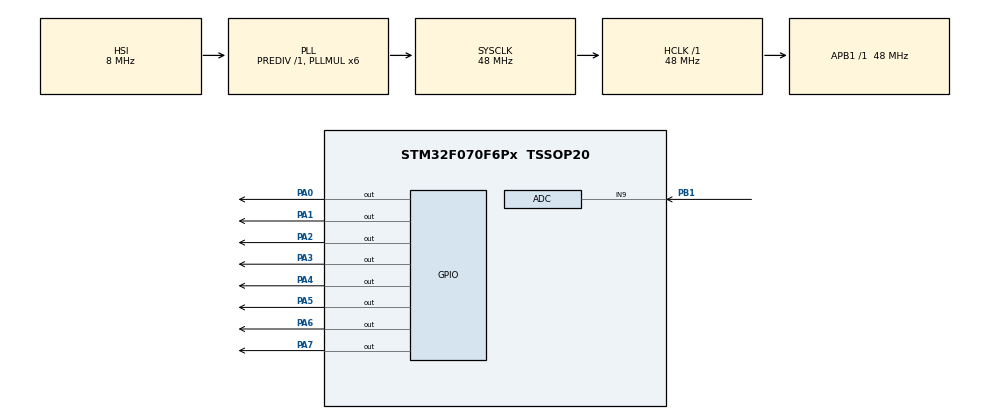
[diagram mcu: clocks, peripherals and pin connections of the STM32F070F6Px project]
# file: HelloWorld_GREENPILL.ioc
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ADC.Resolution=ADC_RESOLUTION_8B
Mcu.Family=STM32F0
Mcu.Name=STM32F070F6Px
Mcu.Package=TSSOP20
PA0.Signal=GPIO_Output
PA1.Signal=GPIO_Output
PA13.Mode=Serial_Wire
PA13.Signal=SYS_SWDIO
PA14.Mode=Serial_Wire
PA14.Signal=SYS_SWCLK
PA2.Signal=GPIO_Output
PA3.Signal=GPIO_Output
PA4.Signal=GPIO_Output
PA5.Signal=GPIO_Output
PA6.Signal=GPIO_Output
PA7.Signal=GPIO_Output
PB1.Mode=IN9
PB1.Signal=ADC_IN9
ProjectManager.HeapSize=0x200
ProjectManager.StackSize=0x400
ProjectManager.TargetToolchain=STM32CubeIDE
RCC.AHBFreq_Value=48000000
RCC.APB1Freq_Value=48000000
RCC.APB1TimFreq_Value=48000000
RCC.HCLKFreq_Value=48000000
RCC.PLLMUL=RCC_PLL_MUL6
RCC.SYSCLKFreq_VALUE=48000000
RCC.SYSCLKSource=RCC_SYSCLKSOURCE_PLLCLK
board=custom

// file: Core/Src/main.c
/* USER CODE BEGIN Header */
/**
  ******************************************************************************
  * @file           : main.c
  * @brief          : Main program body
  ******************************************************************************
  * @attention
  *
  * Copyright (c) 2023 STMicroelectronics.
  * All rights reserved.
  *
  * This software is licensed under terms that can be found in the LICENSE file
  * in the root directory of this software component.
  * If no LICENSE file comes with this software, it is provided AS-IS.
  *
  ******************************************************************************
  */
/* USER CODE END Header */
#include "main.h"
#include "stdlib.h"
#define N 7

ADC_HandleTypeDef hadc;

void SystemClock_Config(void);
static void MX_GPIO_Init(void);
static void MX_ADC_Init(void);

/* USER CODE BEGIN 0 */

void add_valuen(uint32_t *x, uint32_t xn){
	for(uint16_t i = 0; i < N-1; i++){
		x[i] = x[i+1];
	}
	x[N-1] = xn;
}
uint32_t simpsons13mean(uint32_t* x){
	return (uint32_t)(((x[0]) + 4*(x[1]) + (x[2]))/6);
}

uint64_t SIMPSONS1140MEAN_COEF[N] = {41,216,27,272,27,216,41};

uint32_t simpsons1140mean(uint32_t* x){
	uint64_t sum = 0;
	for(uint16_t i = 0; i < N; i++){
		sum += SIMPSONS1140MEAN_COEF[i]*x[i];
	}
	return (uint32_t)(sum/840.0);
}

uint32_t lasty = 0;
#define BETA (double)(0.1)
uint32_t lowpassfilter(uint32_t x){
	return (uint32_t)(BETA*x + (1-BETA)*lasty);
}

uint32_t filter(uint32_t* x, uint32_t valor){
	uint32_t valor_filtrado = lowpassfilter(valor);
	add_valuen(x, valor_filtrado);
	valor_filtrado = simpsons1140mean(x);
	lasty = valor_filtrado;
	return valor_filtrado ;
}
/*uint32_t simpsons13mean(uint32_t* x){
	return (uint32_t)(((double)(x[0]) + 4*(double)(x[1]) + (double)(x[2]))/6.0);
}*/
/* USER CODE END 0 */

int main(void)
{

  /* MCU Configuration--------------------------------------------------------*/

  /* Reset of all peripherals, Initializes the Flash interface and the Systick. */
  HAL_Init();

  /* Configure the system clock */
  SystemClock_Config();

  /* Initialize all configured peripherals */
  MX_GPIO_Init();
  MX_ADC_Init();
  /* USER CODE BEGIN 2 */
  uint32_t valor;
  /* USER CODE END 2 */

  /* Infinite loop */
  /* USER CODE BEGIN WHILE */

    /* USER CODE END 2 */

    /* Infinite loop */
    /* USER CODE BEGIN WHILE */
  //#define DELAY 1
  uint32_t* x = malloc(N*sizeof(uint32_t));
  for(uint8_t i = 0;i<N-1;i++){
	  HAL_ADC_Start(&hadc);
	  //HAL_Delay(DELAY);					// inicializa e realiza a conversão
	  valor = HAL_ADC_GetValue(&hadc);	// pega o valor do adc
	  uint32_t valor_filtrado = lowpassfilter(valor);
	  add_valuen(x, valor_filtrado);
  }
  while (1){
	  HAL_ADC_Start(&hadc);
	  //HAL_Delay(DELAY);					// inicializa e realiza a conversão
	  valor = HAL_ADC_GetValue(&hadc);	// pega o valor do adc
	  GPIOA->ODR=filter(x, valor);

  }
  free(x);

    /* USER CODE END WHILE */

}

void SystemClock_Config(void)
{
  RCC_OscInitTypeDef RCC_OscInitStruct = {0};
  RCC_ClkInitTypeDef RCC_ClkInitStruct = {0};

  /** Initializes the RCC Oscillators according to the specified parameters
  * in the RCC_OscInitTypeDef structure.
  */
  RCC_OscInitStruct.OscillatorType = RCC_OSCILLATORTYPE_HSI|RCC_OSCILLATORTYPE_HSI14;
  RCC_OscInitStruct.HSIState = RCC_HSI_ON;
  RCC_OscInitStruct.HSI14State = RCC_HSI14_ON;
  RCC_OscInitStruct.HSICalibrationValue = RCC_HSICALIBRATION_DEFAULT;
  RCC_OscInitStruct.HSI14CalibrationValue = 16;
  RCC_OscInitStruct.PLL.PLLState = RCC_PLL_ON;
  RCC_OscInitStruct.PLL.PLLSource = RCC_PLLSOURCE_HSI;
  RCC_OscInitStruct.PLL.PLLMUL = RCC_PLL_MUL6;
  RCC_OscInitStruct.PLL.PREDIV = RCC_PREDIV_DIV1;
  if (HAL_RCC_OscConfig(&RCC_OscInitStruct) != HAL_OK)
  {
    Error_Handler();
  }

  /** Initializes the CPU, AHB and APB buses clocks
  */
  RCC_ClkInitStruct.ClockType = RCC_CLOCKTYPE_HCLK|RCC_CLOCKTYPE_SYSCLK
                              |RCC_CLOCKTYPE_PCLK1;
  RCC_ClkInitStruct.SYSCLKSource = RCC_SYSCLKSOURCE_PLLCLK;
  RCC_ClkInitStruct.AHBCLKDivider = RCC_SYSCLK_DIV1;
  RCC_ClkInitStruct.APB1CLKDivider = RCC_HCLK_DIV1;

  if (HAL_RCC_ClockConfig(&RCC_ClkInitStruct, FLASH_LATENCY_1) != HAL_OK)
  {
    Error_Handler();
  }
}

static void MX_ADC_Init(void)
{

  ADC_ChannelConfTypeDef sConfig = {0};

  /** Configure the global features of the ADC (Clock, Resolution, Data Alignment and number of conversion)
  */
  hadc.Instance = ADC1;
  hadc.Init.ClockPrescaler = ADC_CLOCK_ASYNC_DIV1;
  hadc.Init.Resolution = ADC_RESOLUTION_8B;
  hadc.Init.DataAlign = ADC_DATAALIGN_RIGHT;
  hadc.Init.ScanConvMode = ADC_SCAN_DIRECTION_FORWARD;
  hadc.Init.EOCSelection = ADC_EOC_SINGLE_CONV;
  hadc.Init.LowPowerAutoWait = DISABLE;
  hadc.Init.LowPowerAutoPowerOff = DISABLE;
  hadc.Init.ContinuousConvMode = DISABLE;
  hadc.Init.DiscontinuousConvMode = DISABLE;
  hadc.Init.ExternalTrigConv = ADC_SOFTWARE_START;
  hadc.Init.ExternalTrigConvEdge = ADC_EXTERNALTRIGCONVEDGE_NONE;
  hadc.Init.DMAContinuousRequests = DISABLE;
  hadc.Init.Overrun = ADC_OVR_DATA_PRESERVED;
  if (HAL_ADC_Init(&hadc) != HAL_OK)
  {
    Error_Handler();
  }

  /** Configure for the selected ADC regular channel to be converted.
  */
  sConfig.Channel = ADC_CHANNEL_9;
  sConfig.Rank = ADC_RANK_CHANNEL_NUMBER;
  sConfig.SamplingTime = ADC_SAMPLETIME_1CYCLE_5;
  if (HAL_ADC_ConfigChannel(&hadc, &sConfig) != HAL_OK)
  {
    Error_Handler();
  }

}

static void MX_GPIO_Init(void)
{
  GPIO_InitTypeDef GPIO_InitStruct = {0};

  /* GPIO Ports Clock Enable */
  __HAL_RCC_GPIOA_CLK_ENABLE();
  __HAL_RCC_GPIOB_CLK_ENABLE();

  /*Configure GPIO pin Output Level */
  HAL_GPIO_WritePin(GPIOA, GPIO_PIN_0|GPIO_PIN_1|GPIO_PIN_2|GPIO_PIN_3
                          |GPIO_PIN_4|GPIO_PIN_5|GPIO_PIN_6|GPIO_PIN_7, GPIO_PIN_RESET);

  /*Configure GPIO pins : PA0 PA1 PA2 PA3
                           PA4 PA5 PA6 PA7 */
  GPIO_InitStruct.Pin = GPIO_PIN_0|GPIO_PIN_1|GPIO_PIN_2|GPIO_PIN_3
                          |GPIO_PIN_4|GPIO_PIN_5|GPIO_PIN_6|GPIO_PIN_7;
  GPIO_InitStruct.Mode = GPIO_MODE_OUTPUT_PP;
  GPIO_InitStruct.Pull = GPIO_NOPULL;
  GPIO_InitStruct.Speed = GPIO_SPEED_FREQ_LOW;
  HAL_GPIO_Init(GPIOA, &GPIO_InitStruct);

}

void Error_Handler(void)
{
  __disable_irq();
  while (1)
  {
  }
}
